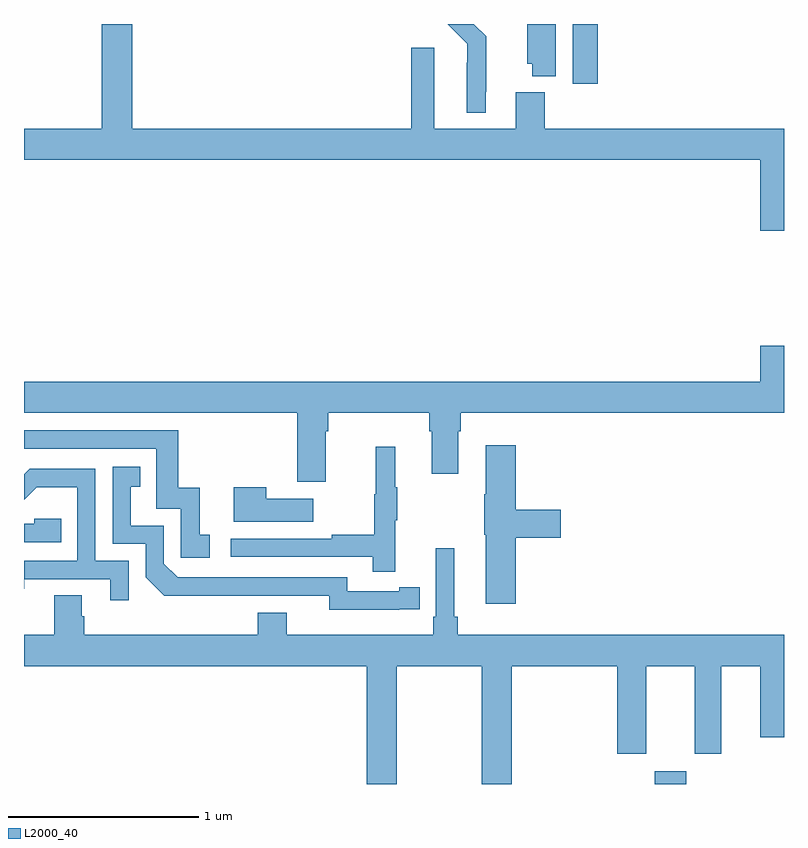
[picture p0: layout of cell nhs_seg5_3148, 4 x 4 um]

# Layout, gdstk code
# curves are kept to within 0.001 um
import gdstk
lib = gdstk.Library(unit=1e-6, precision=1e-09)
def R(c, l, rs):  # rectangles x0, y0, x1, y1
    for r in rs: c.add(gdstk.rectangle(r[:2], r[2:], *l))
def P(c, l, *ps):  # polygons
    for p in ps: c.add(gdstk.Polygon(p, *l))
L2000_40 = (2000, 40)

nhs_seg5_3148 = lib.new_cell('nhs_seg5_3148')
R(nhs_seg5_3148, L2000_40, [(296.321,862.799,296.485,862.867), (295.889,866.484,296.021,866.799)])
P(nhs_seg5_3148, L2000_40, [(297,866.248),(295.742,866.248),(295.742,866.44),(295.589,866.44),(295.589,866.248),(295.159,866.248),(295.159,866.674),(295.037,866.674),(295.037,866.248),(293.57,866.248),(293.57,866.799),(293.41,866.799),(293.41,866.248),(293,866.248),(293,866.084),(296.876,866.084),(296.876,865.71),(297,865.71)],
  [(295.429,866.443),(295.433,866.443),(295.433,866.734),(295.368,866.799),(295.229,866.799),(295.332,866.696),(295.332,866.594),(295.331,866.594),(295.331,866.333),(295.429,866.333)],
  [(295.798,866.799),(295.649,866.799),(295.649,866.589),(295.676,866.589),(295.676,866.525),(295.798,866.525)],
  [(294.589,864.656),(294.602,864.656),(294.602,864.752),(295.133,864.752),(295.133,864.656),(295.145,864.656),(295.145,864.432),(295.285,864.432),(295.285,864.656),(295.298,864.656),(295.298,864.752),(297,864.752),(297,865.105),(296.876,865.105),(296.876,864.916),(293,864.916),(293,864.752),(294.437,864.752),(294.437,864.39),(294.589,864.39)],
  [(293.977,864.111),(293.924,864.111),(293.924,864.358),(293.813,864.358),(293.813,864.66),(293,864.66),(293,864.564),(293.697,864.564),(293.697,864.249),(293.826,864.249),(293.826,863.991),(293.977,863.991)],
  [(295.589,864.095),(295.825,864.095),(295.825,864.242),(295.589,864.242),(295.589,864.583),(295.43,864.583),(295.43,864.325),(295.423,864.325),(295.423,864.111),(295.43,864.111),(295.43,863.748),(295.589,863.748)],
  [(294.953,864.187),(294.964,864.187),(294.964,864.361),(294.953,864.361),(294.953,864.574),(294.85,864.574),(294.85,864.324),(294.843,864.324),(294.843,864.11),(294.619,864.11),(294.619,864.09),(294.087,864.09),(294.087,863.994),(294.835,863.994),(294.835,863.916),(294.953,863.916)],
  [(294.974,863.718),(295.082,863.718),(295.082,863.834),(294.974,863.834),(294.974,863.814),(294.702,863.814),(294.702,863.886),(293.808,863.886),(293.736,863.958),(293.736,864.159),(293.563,864.159),(293.563,864.363),(293.612,864.363),(293.612,864.469),(293.466,864.469),(293.466,864.063),(293.64,864.063),(293.64,863.886),(293.738,863.789),(294.606,863.79),(294.606,863.717)],
  [(293.55,863.973),(293.376,863.973),(293.376,864.459),(293.03,864.459),(293,864.429),(293,864.296),(293.066,864.362),(293.28,864.362),(293.28,863.973),(293,863.973),(293,863.826),(293.002,863.826),(293.002,863.877),(293.453,863.877),(293.453,863.766),(293.55,863.766)],
  [(294.523,864.301),(294.275,864.301),(294.275,864.361),(294.104,864.361),(294.104,864.179),(294.523,864.179)],
  [(293.195,864.195),(293.055,864.195),(293.055,864.168),(293,864.168),(293,864.072),(293.195,864.072)],
  [(294.963,863.42),(295.408,863.42),(295.408,862.799),(295.568,862.799),(295.568,863.42),(296.123,863.42),(296.123,862.959),(296.275,862.959),(296.275,863.42),(296.531,863.42),(296.531,862.959),(296.671,862.959),(296.671,863.42),(296.876,863.42),(296.876,863.046),(297,863.046),(297,863.584),(295.283,863.584),(295.283,863.68),(295.264,863.68),(295.264,864.04),(295.167,864.04),(295.167,863.68),(295.154,863.68),(295.154,863.584),(294.382,863.584),(294.382,863.701),(294.23,863.701),(294.23,863.584),(293.318,863.584),(293.318,863.682),(293.305,863.682),(293.305,863.792),(293.158,863.792),(293.158,863.584),(293,863.584),(293,863.42),(294.803,863.42),(294.803,862.799),(294.963,862.799)])

lib.write_gds('nhs_seg5_3148.gds')
